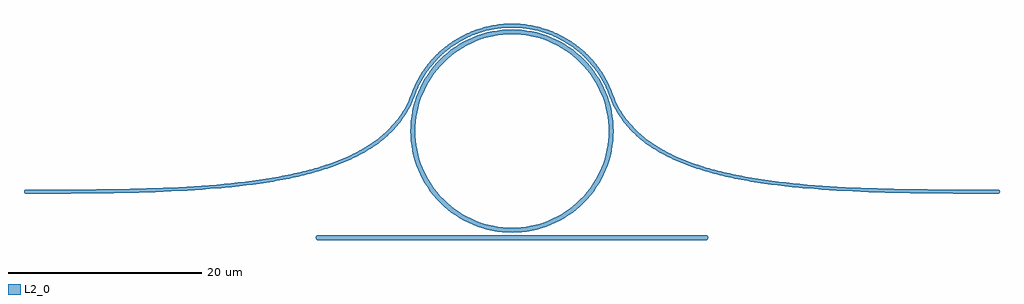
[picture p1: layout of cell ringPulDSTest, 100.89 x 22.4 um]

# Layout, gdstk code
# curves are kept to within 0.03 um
import gdstk
lib = gdstk.Library(unit=1e-6, precision=1e-09)
def P(c, l, *ps):  # polygons
    for p in ps: c.add(gdstk.Polygon(p, *l))
L2_0 = (2, 0)

ringpuldstest = lib.new_cell('ringPulDSTest')
P(ringpuldstest, L2_0, [(10,-30.5),(8.971,-30.449),(7.952,-30.298),(6.952,-30.048),(5.982,-29.701),(5.05,-29.26),(4.167,-28.73),(3.339,-28.117),(2.575,-27.425),(1.883,-26.661),(1.27,-25.833),(0.74,-24.95),(0.299,-24.018),(-0.048,-23.048),(-0.298,-22.048),(-0.449,-21.029),(-0.5,-20),(-0.449,-18.971),(-0.298,-17.952),(-0.048,-16.952),(0.299,-15.982),(0.74,-15.05),(1.27,-14.167),(1.883,-13.339),(2.575,-12.575),(3.339,-11.883),(4.167,-11.27),(5.05,-10.74),(5.982,-10.299),(6.952,-9.952),(7.952,-9.702),(8.971,-9.551),(10,-9.5),(11.029,-9.551),(12.048,-9.702),(13.048,-9.952),(14.018,-10.299),(14.95,-10.74),(15.833,-11.27),(16.661,-11.883),(17.425,-12.575),(18.117,-13.339),(18.73,-14.167),(19.26,-15.05),(19.701,-15.982),(20.048,-16.952),(20.298,-17.952),(20.449,-18.971),(20.5,-20),(20,-20),(19.892,-18.533),(19.569,-17.097),(19.04,-15.724),(18.577,-14.859),(18.032,-14.043),(17.41,-13.284),(16.344,-12.27),(15.141,-11.423),(13.827,-10.761),(12.43,-10.3),(10.98,-10.048),(9.509,-10.012),(8.049,-10.192),(6.631,-10.585),(5.286,-11.181),(4.043,-11.968),(2.929,-12.929),(1.968,-14.043),(1.423,-14.859),(0.96,-15.724),(0.431,-17.097),(0.192,-18.049),(0.012,-19.509),(0.048,-20.98),(0.192,-21.951),(0.431,-22.903),(0.96,-24.276),(1.685,-25.556),(2.27,-26.344),(3.284,-27.41),(4.043,-28.032),(5.286,-28.819),(6.173,-29.239),(7.57,-29.7),(8.533,-29.892),(9.509,-29.988),(10.98,-29.952),(11.951,-29.808),(13.369,-29.415),(14.276,-29.04),(15.556,-28.315),(16.716,-27.41),(17.41,-26.716),(18.032,-25.957),(18.577,-25.141),(19.239,-23.827),(19.7,-22.43),(19.892,-21.467),(20,-20),(20.5,-20),(20.449,-21.029),(20.298,-22.048),(20.048,-23.048),(19.701,-24.018),(19.26,-24.95),(18.73,-25.833),(18.117,-26.661),(17.425,-27.425),(16.661,-28.117),(15.833,-28.73),(14.95,-29.26),(14.018,-29.701),(13.048,-30.048),(12.048,-30.298),(11.029,-30.449)],
  [(-40.243,-26.472),(-40.243,-26.072),(-32.935,-26.04),(-27.738,-25.933),(-23.63,-25.753),(-19.38,-25.428),(-16.136,-25.039),(-13.449,-24.584),(-10.968,-24.015),(-8.697,-23.318),(-6.893,-22.592),(-5.269,-21.749),(-3.847,-20.787),(-2.62,-19.693),(-1.869,-18.825),(-1.226,-17.881),(-0.695,-16.857),(0.064,-15.052),(0.873,-13.683),(1.382,-13.004),(1.942,-12.366),(2.627,-11.702),(3.283,-11.163),(3.977,-10.676),(4.707,-10.243),(5.565,-9.824),(6.355,-9.515),(7.27,-9.241),(8.204,-9.046),(9.152,-8.932),(10,-8.9),(10,-9.3),(8.979,-9.349),(7.967,-9.495),(6.876,-9.766),(5.913,-10.111),(4.63,-10.745),(3.363,-11.607),(2.741,-12.139),(2.162,-12.716),(1.628,-13.336),(1.144,-13.995),(0.422,-15.23),(-0.335,-17.033),(-0.767,-17.887),(-1.41,-18.88),(-2.329,-19.967),(-3.028,-20.632),(-3.597,-21.1),(-5.066,-22.093),(-6.717,-22.951),(-8.549,-23.69),(-10.853,-24.399),(-13.697,-25.039),(-16.775,-25.531),(-20.077,-25.895),(-24.394,-26.195),(-28.556,-26.357),(-33.811,-26.449)],
  [(60.243,-26.472),(53.811,-26.449),(48.556,-26.357),(44.394,-26.195),(40.077,-25.895),(36.775,-25.531),(33.697,-25.039),(30.853,-24.399),(28.549,-23.69),(26.717,-22.951),(25.066,-22.093),(23.597,-21.1),(23.028,-20.632),(22.329,-19.967),(21.41,-18.88),(20.767,-17.887),(20.335,-17.033),(19.578,-15.23),(18.856,-13.995),(18.372,-13.336),(17.838,-12.716),(17.259,-12.139),(16.637,-11.607),(15.37,-10.745),(14.087,-10.111),(13.124,-9.766),(12.033,-9.495),(11.021,-9.349),(10,-9.3),(10,-8.9),(10.848,-8.932),(11.796,-9.046),(12.73,-9.241),(13.645,-9.515),(14.435,-9.824),(15.293,-10.243),(16.023,-10.676),(16.717,-11.163),(17.373,-11.702),(18.058,-12.366),(18.618,-13.004),(19.127,-13.683),(19.936,-15.052),(20.695,-16.857),(21.226,-17.881),(21.869,-18.825),(22.62,-19.693),(23.847,-20.787),(25.269,-21.749),(26.893,-22.592),(28.697,-23.318),(30.968,-24.015),(33.449,-24.584),(36.136,-25.039),(39.38,-25.428),(43.63,-25.753),(47.738,-25.933),(52.935,-26.04),(60.243,-26.072)],
  [(-10,-31.3),(-10.194,-31.219),(-10.275,-31.025),(-10.194,-30.831),(-10,-30.75),(30,-30.75),(30.194,-30.831),(30.275,-31.025),(30.194,-31.219),(30,-31.3)],
  [(60.243,-26.472),(60.243,-26.072),(60.32,-26.088),(60.384,-26.131),(60.427,-26.194),(60.443,-26.272),(60.427,-26.35),(60.384,-26.413),(60.32,-26.456)],
  [(-40.243,-26.472),(-40.32,-26.456),(-40.384,-26.413),(-40.427,-26.35),(-40.443,-26.272),(-40.427,-26.194),(-40.384,-26.131),(-40.32,-26.088),(-40.243,-26.072)])

lib.write_gds('ringPulDSTest.gds')
